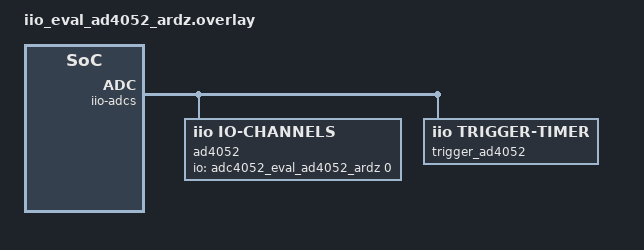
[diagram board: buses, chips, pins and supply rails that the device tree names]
/*
 * Copyright (c) 2025 Analog Devices, Inc.
 *
 * SPDX-License-Identifier: MIT
 */

/ {
	iio-context {
		iio-adcs {
			ad4052 {
				compatible = "iio,io-channels";
				io-channels = <&adc4052_eval_ad4052_ardz 0>;
				io-channel-names = "adc_in_ch0";
				io-name = "ad4052";
				buffer-name = "buffer0";
				trigger-device = <&trigger_ad4052>;
			};

			trigger_ad4052: trigger_ad4052 {
				compatible = "iio,trigger-timer";
				io-name = "trigger_timer0";
				trigger-id = "trigger0";
			};
		};
	};
};
